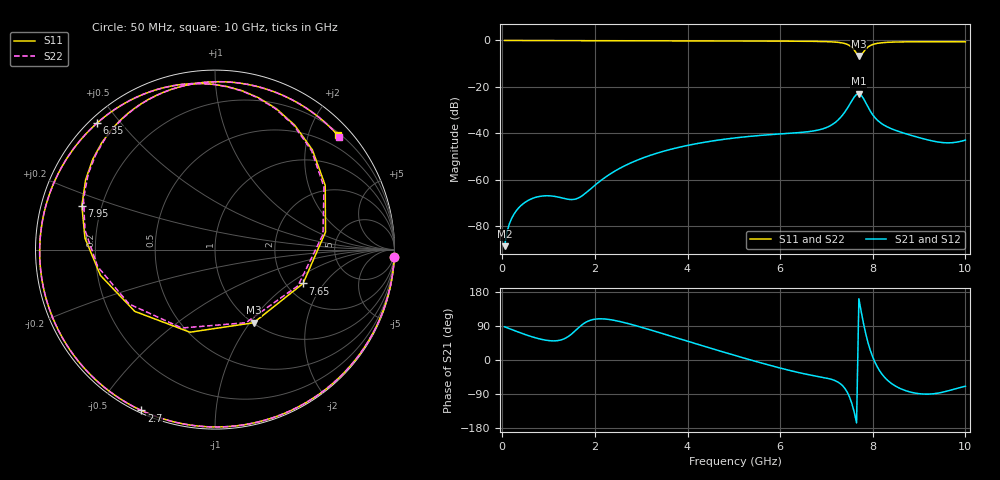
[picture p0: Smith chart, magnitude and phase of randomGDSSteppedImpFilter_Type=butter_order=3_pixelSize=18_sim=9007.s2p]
! freq	dB(S11)	phase(S11)	dB(S12)	phase(S12)
!  dB(S21)	phase(S21)	dB(S22)	phase(S22)
!S-par simulation data
#  GHz  S  DB  R 50
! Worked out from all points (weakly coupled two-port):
!   200 points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, 50 MHz to 10 GHz, reference 50 ohm
!   highest |S21| = -22.93 dB at 7.7 GHz (marker M1); lowest = -88.6 dB at 50 MHz (marker M2)
!   lowest |S11| = -6.7 dB at 7.7 GHz (marker M3), VSWR 2.71, Z = 50.3 - j52.1 ohm
!   |S11| at or under -10 dB: nowhere
!   |S22| runs from -7.1 to 0.0 dB; largest |S21 - S12| = 0
!   S11 on the Smith chart (normalised r, x): 50 MHz: 0, -47; 2.7 GHz: 0.01, -0.64; 6.35 GHz: 0.02, +0.43; 7.65 GHz: 2.45, -1.28; 7.95 GHz: 0.13, +0.16; 10 GHz: 0.25, +2.53
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0.05  -0.00 -2.4  -88.64 87.7  -88.64 87.7  -0.00 -2.4
0.4  -0.03 -19.3  -71.21 71.3  -71.21 71.3  -0.03 -19.3
0.65  -0.04 -31.1  -68.08 61.0  -68.08 61.0  -0.04 -31.1
1.75  -0.09 -79.2  -66.55 95.5  -66.55 95.5  -0.09 -79.2
2.7  -0.12 -114.6  -53.45 96.7  -53.45 96.7  -0.13 -114.6
3.4  -0.15 -137.6  -48.21 72.0  -48.21 72.0  -0.15 -137.6
5.05  -0.22 173.5  -41.94 11.1  -41.94 11.1  -0.22 173.5
6.35  -0.32 133.0  -39.80 -31.8  -39.80 -31.8  -0.32 133.0
6.7  -0.39 119.3  -39.06 -40.9  -39.06 -40.9  -0.39 119.4
7.1  -0.59 97.9  -36.54 -50.8  -36.54 -50.8  -0.59 98.1
7.35  -1.11 74.0  -32.09 -68.1  -32.09 -68.1  -1.12 74.3
7.5  -2.20 45.7  -27.59 -98.2  -27.59 -98.2  -2.26 45.7
7.6  -4.10 9.0  -24.36 -138.0  -24.36 -138.0  -4.33 8.0
7.65  -5.59 -21.0  -23.25 -166.0  -23.25 -166.0  -5.94 -23.5
7.7  -6.73 -62.2  -22.93 161.7  -22.93 161.7  -7.09 -67.1
7.8  -4.97 -142.4  -25.04 96.2  -25.04 96.2  -4.93 -147.8
7.85  -3.68 -167.3  -26.90 68.3  -26.90 68.3  -3.61 -171.7
7.95  -2.15 161.8  -30.56 24.5  -30.56 24.5  -2.09 158.8
8.1  -1.24 136.8  -34.35 -18.7  -34.35 -18.7  -1.22 134.8
8.35  -0.77 114.3  -37.59 -56.8  -37.59 -56.8  -0.77 112.9
9.05  -0.55 79.2  -42.14 -89.5  -42.14 -89.5  -0.55 78.3
10  -0.58 42.9  -42.94 -69.3  -42.94 -69.3  -0.58 42.1
